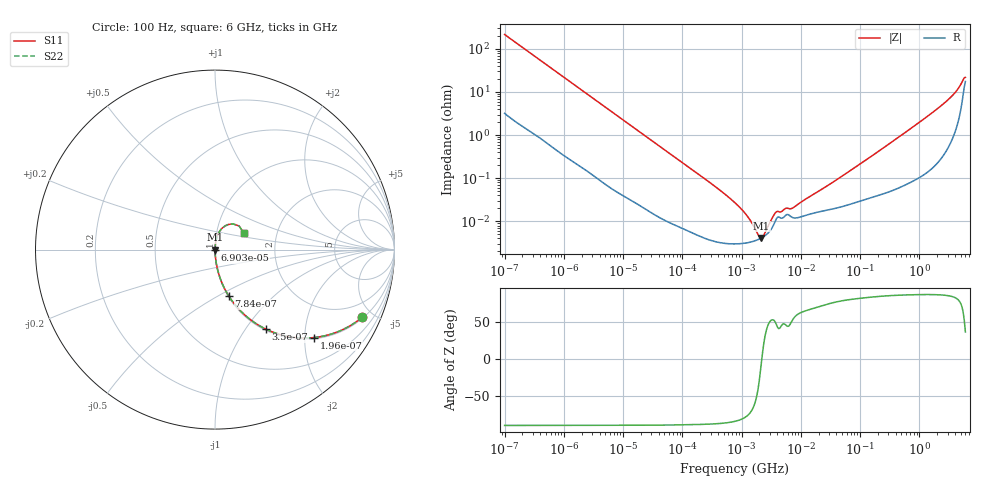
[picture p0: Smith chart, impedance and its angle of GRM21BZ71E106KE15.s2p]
!Murata Part Number: GRM21BZ71E106KE15
!These Parameters are Measured in Series Mode Connection
!Data Generated on Mar 30, 2021
!  o--ll--o
!Port1  Port2
!  o------o
!Operation Temp=25[degC], DC Bias Voltage=0[V]
!Freq. Start=100[Hz] Stop=6[GHz] 401[Steps]
# Hz S RI R 50
!Freq.(Hz) S11(Real) S11(Imag) S21(Real) S21(Imag) S12(Real) S12(Imag) S22(Real) S22(Imag)
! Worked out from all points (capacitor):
!   401 points, 100 Hz to 6 GHz, reference 50 ohm
!   read as one part in series: C = 7.32 uF near 109 Hz
!   lowest |Z| = 4.13 mohm at 2.169 MHz (marker M1)
!   series resonance near 2.194 MHz, so ESL is about 720 pH
!   S11 on the Smith chart (normalised r, x): 100 Hz: 1.06, -4.33; 196 Hz: 1.03, -2.23; 350 Hz: 1.02, -1.25; 784 Hz: 1.01, -0.56; 69.03 kHz: 1.00, -0.01; 6 GHz: 1.35, +0.26
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100  0.8208 -0.3762  0.1792 0.3762  0.1792 0.3762  0.8208 -0.3762
196  0.5526 -0.49  0.4474 0.49  0.4474 0.49  0.5526 -0.49
350  0.2842 -0.4434  0.7158 0.4434  0.7158 0.4434  0.2842 -0.4434
524  0.1536 -0.353  0.8464 0.353  0.8464 0.353  0.1536 -0.353
784  0.0768 -0.2589  0.9232 0.2589  0.9232 0.2589  0.0768 -0.2589
2008  0.0139 -0.1092  0.9861 0.1092  0.9861 0.1092  0.0139 -0.1092
6433  0.00179 -0.035  0.9982 0.035  0.9982 0.035  0.00179 -0.035
40335  0.000157 -0.0057  0.9998 0.0057  0.9998 0.0057  0.000157 -0.0057
69028  9.72e-05 -0.00335  0.9999 0.00335  0.9999 0.00335  9.72e-05 -0.00335
345986  3.47e-05 -0.000665  1 0.000665  1 0.000665  3.47e-05 -0.000665
774597  3e-05 -0.000268  1 0.000268  1 0.000268  3e-05 -0.000268
1449809  3.32e-05 -9.26e-05  1 9.26e-05  1 9.26e-05  3.32e-05 -9.26e-05
2169299  4.12e-05 -2.5e-06  1 2.5e-06  1 2.5e-06  4.12e-05 -2.5e-06
2967816  5.84e-05 6.98e-05  0.9999 -6.98e-05  0.9999 -6.98e-05  5.84e-05 6.98e-05
3882480  0.000115 0.000121  0.9999 -0.000121  0.9999 -0.000121  0.000115 0.000121
7266822  0.000123 0.000162  0.9999 -0.000162  0.9999 -0.000162  0.000123 0.000162
1.555665e7  0.000152 0.000377  0.9998 -0.000377  0.9998 -0.000377  0.000152 0.000377
3.124326e8  0.000526 0.0063  0.9995 -0.0063  0.9995 -0.0063  0.000526 0.0063
2.450438e9  0.00565 0.0503  0.9943 -0.0503  0.9943 -0.0503  0.00565 0.0503
4.385646e9  0.0288 0.1063  0.9712 -0.1063  0.9712 -0.1063  0.0288 0.1063
5.245841e9  0.0741 0.14  0.9259 -0.14  0.9259 -0.14  0.0741 0.14
6e9  0.1597 0.0935  0.8403 -0.0935  0.8403 -0.0935  0.1597 0.0935
